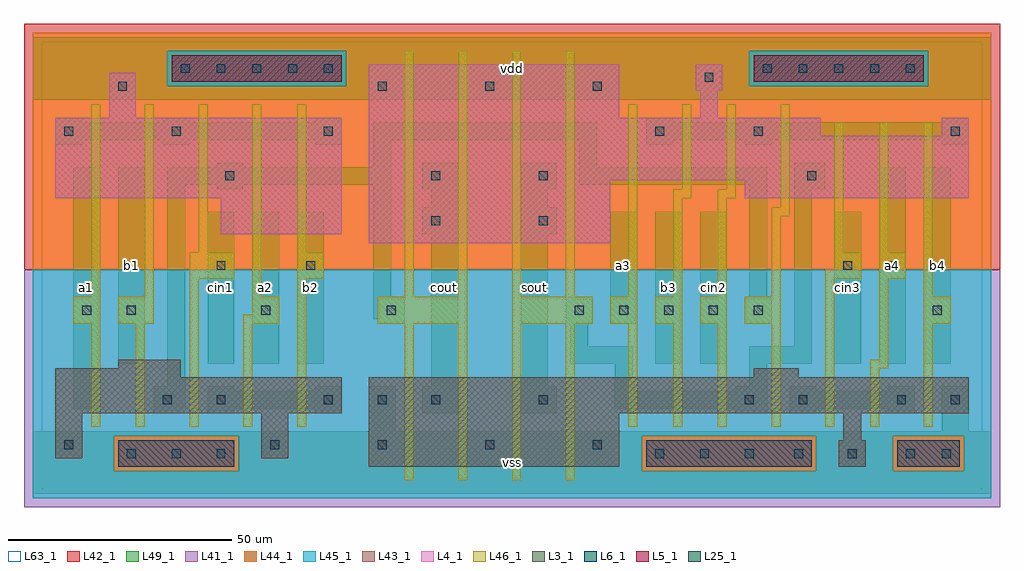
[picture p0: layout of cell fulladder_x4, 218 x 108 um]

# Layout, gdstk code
import gdstk
lib = gdstk.Library(unit=1e-6, precision=1e-09)
def R(c, l, rs):  # rectangles x0, y0, x1, y1
    for r in rs: c.add(gdstk.rectangle(r[:2], r[2:], *l))
def A(c, l, x, y, w, h, nx, ny, dx, dy):  # array of equal rectangles
    R(c, l, [(x+i*dx, y+j*dy, x+i*dx+w, y+j*dy+h) for i in range(nx) for j in range(ny)])
L3_1 = (3, 1)
L4_1 = (4, 1)
L5_1 = (5, 1)
L6_1 = (6, 1)
L25_1 = (25, 1)
L41_1 = (41, 1)
L42_1 = (42, 1)
L43_1 = (43, 1)
L44_1 = (44, 1)
L45_1 = (45, 1)
L46_1 = (46, 1)
L49_1 = (49, 1)
L63_1 = (63, 1)

fulladder_x4 = lib.new_cell('fulladder_x4')
R(fulladder_x4, L3_1, [(73,5,129,17), (178,5,184,11), (3,7,9,17), (49,7,55,17), (179,11,183,17), (3,17,67,25), (73,17,207,25), (3,25,31,27), (159,25,169,27), (17,27,31,29)])
R(fulladder_x4, L4_1, [(73,55,127,69), (40,57,67,65), (3,65,67,83), (157,65,207,69), (73,69,207,79), (73,79,174,83), (201,79,207,83), (15,83,21,93), (73,83,129,95), (147,83,151,89), (146,89,152,95)])
R(fulladder_x4, L5_1, [(29,91,67,97), (159,91,197,97)])
R(fulladder_x4, L6_1, [(17,5,43,11), (135,5,172,11), (191,5,205,11)])
A(fulladder_x4, L25_1, 19, 7, 2, 2, 3, 1, 10, 0)
A(fulladder_x4, L25_1, 137, 7, 2, 2, 3, 1, 10, 0)
A(fulladder_x4, L25_1, 51, 9, 2, 2, 4, 1, 24, 0)
A(fulladder_x4, L25_1, 63, 19, 2, 2, 3, 1, 12, 0)
A(fulladder_x4, L25_1, 119, 39, 2, 2, 5, 1, 10, 0)
A(fulladder_x4, L25_1, 75, 89, 2, 2, 3, 1, 24, 0)
A(fulladder_x4, L25_1, 31, 93, 2, 2, 5, 1, 8, 0)
A(fulladder_x4, L25_1, 161, 93, 2, 2, 5, 1, 8, 0)
R(fulladder_x4, L25_1, [(168,7,170,9), (180,7,182,9), (193,7,195,9), (201,7,203,9), (5,9,7,11), (27,19,29,21), (39,19,41,21), (111,19,113,21), (157,19,159,21), (169,19,171,21), (191,19,193,21), (203,19,205,21), (9,39,11,41), (19,39,21,41), (49,39,51,41), (77,39,79,41), (199,39,201,41), (39,49,41,51), (59,49,61,51), (179,49,181,51), (189,49,191,51), (87,59,89,61), (111,59,113,61), (41,69,43,71), (87,69,89,71), (111,69,113,71), (171,69,173,71), (5,79,7,81), (29,79,31,81), (63,79,65,81), (137,79,139,81), (159,79,161,81), (203,79,205,81), (17,89,19,91), (148,91,150,93)])
R(fulladder_x4, L41_1, [(-4,-4,214,49)])
R(fulladder_x4, L42_1, [(-4,49,214,104)])
R(fulladder_x4, L43_1, [(17,5,43,11), (73,5,129,17), (135,5,172,11), (178,5,184,11), (191,5,205,11), (3,7,9,17), (49,7,55,17), (179,11,183,17), (3,17,67,25), (73,17,207,25), (3,25,31,27), (159,25,169,27), (17,27,31,29), (73,55,127,69), (40,57,67,65), (3,65,67,83), (157,65,207,69), (73,69,207,79), (73,79,174,83), (201,79,207,83), (15,83,21,93), (73,83,129,95), (147,83,151,89), (146,89,152,95), (29,91,67,97), (159,91,197,97)])
R(fulladder_x4, L44_1, [(16,4,44,12), (134,4,173,12), (190,4,206,12), (-2,49,212,90), (-2,90,28,98), (68,90,158,98), (198,90,212,98), (-2,98,212,102)])
R(fulladder_x4, L45_1, [(-2,-2,212,4), (-2,4,16,12), (44,4,134,12), (173,4,190,12), (206,4,212,12), (-2,12,212,49), (28,90,68,98), (158,90,198,98)])
A(fulladder_x4, L46_1, 81, 2, 2, 35, 4, 1, 12, 0)
A(fulladder_x4, L46_1, 131, 14, 2, 23, 3, 1, 10, 0)
A(fulladder_x4, L46_1, 127, 37, 6, 6, 3, 1, 10, 0)
A(fulladder_x4, L46_1, 81, 43, 2, 55, 4, 1, 12, 0)
R(fulladder_x4, L46_1, [(11,14,13,37), (21,14,23,37), (33,14,35,47), (45,14,47,37), (57,14,59,47), (163,14,165,37), (175,14,177,47), (185,14,187,27), (197,14,199,37), (185,27,189,29), (187,29,189,47), (7,37,13,43), (17,37,25,43), (45,37,53,39), (75,37,95,43), (105,37,123,43), (157,37,165,43), (197,37,203,43), (47,39,53,43), (11,43,13,86), (23,43,25,86), (47,43,49,86), (131,43,133,86), (141,43,143,65), (151,43,153,65), (163,43,165,61), (197,43,199,82), (33,47,43,53), (57,47,63,53), (175,47,183,49), (187,47,193,53), (177,49,183,53), (35,53,37,86), (57,53,59,86), (177,53,179,82), (187,53,189,82), (163,61,167,63), (165,63,167,86), (141,65,145,67), (151,65,155,67), (143,67,145,86), (153,67,155,86)])
A(fulladder_x4, L49_1, 37, 28, 6, 34, 3, 1, 10, 0)
R(fulladder_x4, L49_1, [(-2,-1,212,13), (73,13,79,23), (201,13,207,23), (25,17,31,18), (37,17,43,18), (61,17,67,18), (85,17,93,23), (107,17,115,23), (155,17,162,18), (167,17,173,18), (189,17,195,18), (7,18,13,72), (25,18,32,23), (37,18,67,22), (128,18,162,22), (167,18,195,22), (37,22,43,23), (61,22,67,23), (128,22,132,28), (155,22,162,23), (167,22,173,23), (189,22,195,23), (28,23,32,68), (87,23,93,57), (107,23,113,57), (158,23,162,28), (17,28,23,72), (118,28,132,32), (137,28,143,62), (147,28,153,62), (158,28,172,32), (177,28,183,62), (187,28,193,72), (197,28,203,72), (118,32,122,37), (168,32,172,67), (75,37,81,38), (117,37,123,43), (127,37,133,62), (157,37,163,43), (74,38,81,43), (74,43,78,68), (158,43,162,68), (85,57,93,63), (107,57,115,63), (87,63,93,67), (107,63,113,67), (39,67,45,68), (85,67,93,73), (107,67,115,73), (168,67,175,73), (28,68,78,72), (120,68,162,72), (39,72,45,73), (74,72,78,78), (120,72,124,78), (3,77,9,78), (27,77,33,78), (61,77,67,78), (135,77,141,78), (157,77,163,78), (201,77,207,78), (3,78,67,82), (74,78,124,82), (135,78,207,82), (3,82,9,83), (27,82,33,83), (61,82,67,83), (135,82,141,83), (157,82,163,83), (201,82,207,83), (-2,87,212,101)])
R(fulladder_x4, L63_1, [(0,0,210,100)])
fulladder_x4.add(gdstk.Label('a1', (10,45), layer=49, texttype=1))
fulladder_x4.add(gdstk.Label('b1', (20,50), layer=49, texttype=1))
fulladder_x4.add(gdstk.Label('b1', (20,50), layer=49, texttype=1))
fulladder_x4.add(gdstk.Label('a1', (10,45), layer=49, texttype=1))
fulladder_x4.add(gdstk.Label('cin1', (40,45), layer=49, texttype=1))
fulladder_x4.add(gdstk.Label('cin1', (40,45), layer=49, texttype=1))
fulladder_x4.add(gdstk.Label('b2', (60,45), layer=49, texttype=1))
fulladder_x4.add(gdstk.Label('a2', (50,45), layer=49, texttype=1))
fulladder_x4.add(gdstk.Label('a2', (50,45), layer=49, texttype=1))
fulladder_x4.add(gdstk.Label('b2', (60,45), layer=49, texttype=1))
fulladder_x4.add(gdstk.Label('vss', (105,6), layer=49, texttype=1))
fulladder_x4.add(gdstk.Label('vss', (105,6), layer=49, texttype=1))
fulladder_x4.add(gdstk.Label('sout', (110,45), layer=49, texttype=1))
fulladder_x4.add(gdstk.Label('cout', (90,45), layer=49, texttype=1))
fulladder_x4.add(gdstk.Label('sout', (110,45), layer=49, texttype=1))
fulladder_x4.add(gdstk.Label('cout', (90,45), layer=49, texttype=1))
fulladder_x4.add(gdstk.Label('vdd', (105,94), layer=49, texttype=1))
fulladder_x4.add(gdstk.Label('vdd', (105,94), layer=49, texttype=1))
fulladder_x4.add(gdstk.Label('b3', (140,45), layer=49, texttype=1))
fulladder_x4.add(gdstk.Label('cin2', (150,45), layer=49, texttype=1))
fulladder_x4.add(gdstk.Label('a3', (130,50), layer=49, texttype=1))
fulladder_x4.add(gdstk.Label('cin2', (150,45), layer=49, texttype=1))
fulladder_x4.add(gdstk.Label('b3', (140,45), layer=49, texttype=1))
fulladder_x4.add(gdstk.Label('a3', (130,50), layer=49, texttype=1))
fulladder_x4.add(gdstk.Label('b4', (200,50), layer=49, texttype=1))
fulladder_x4.add(gdstk.Label('a4', (190,50), layer=49, texttype=1))
fulladder_x4.add(gdstk.Label('cin3', (180,45), layer=49, texttype=1))
fulladder_x4.add(gdstk.Label('a4', (190,50), layer=49, texttype=1))
fulladder_x4.add(gdstk.Label('b4', (200,50), layer=49, texttype=1))
fulladder_x4.add(gdstk.Label('cin3', (180,45), layer=49, texttype=1))

lib.write_gds('fulladder_x4.gds')
